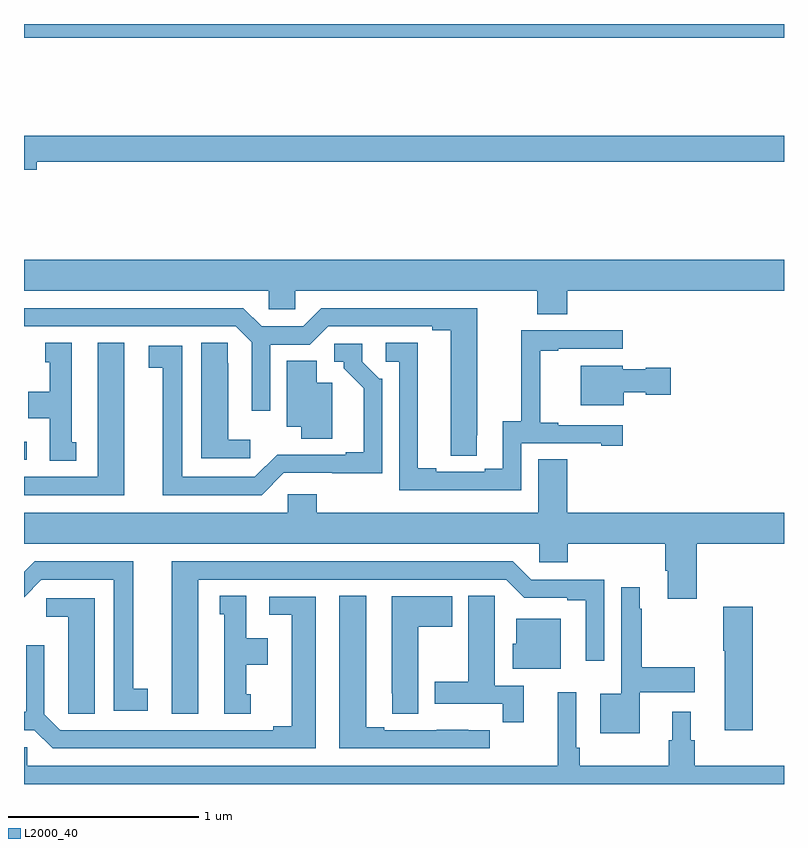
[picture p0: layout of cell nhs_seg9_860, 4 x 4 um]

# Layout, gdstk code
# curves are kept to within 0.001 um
import gdstk
lib = gdstk.Library(unit=1e-6, precision=1e-09)
def R(c, l, rs):  # rectangles x0, y0, x1, y1
    for r in rs: c.add(gdstk.rectangle(r[:2], r[2:], *l))
def P(c, l, *ps):  # polygons
    for p in ps: c.add(gdstk.Polygon(p, *l))
L2000_40 = (2000, 40)

nhs_seg9_860 = lib.new_cell('nhs_seg9_860')
R(nhs_seg9_860, L2000_40, [(157,1186.206,157.015,1186.302), (157,1188.428,161,1188.5)])
P(nhs_seg9_860, L2000_40, [(157.066,1187.776),(161,1187.776),(161,1187.912),(157,1187.912),(157,1187.734),(157.066,1187.734)],
  [(159.86,1187.096),(161,1187.096),(161,1187.26),(157,1187.26),(157,1187.096),(158.289,1187.096),(158.289,1186.998),(158.427,1186.998),(158.427,1187.096),(159.7,1187.096),(159.7,1186.972),(159.86,1186.972)],
  [(159.384,1186.336),(159.385,1187.004),(158.565,1187.004),(158.469,1186.908),(158.251,1186.908),(158.155,1187.004),(157,1187.004),(157,1186.908),(158.115,1186.908),(158.199,1186.824),(158.199,1186.464),(158.295,1186.464),(158.295,1186.812),(158.505,1186.812),(158.601,1186.908),(159.149,1186.908),(159.149,1186.888),(159.245,1186.888),(159.245,1186.228),(159.384,1186.228)],
  [(159.618,1186.293),(160.037,1186.293),(160.037,1186.281),(160.15,1186.281),(160.15,1186.389),(159.811,1186.389),(159.811,1186.402),(159.716,1186.402),(159.716,1186.779),(159.811,1186.779),(159.811,1186.791),(160.15,1186.791),(160.15,1186.887),(159.616,1186.887),(159.616,1186.409),(159.521,1186.409),(159.521,1186.158),(159.425,1186.158),(159.425,1186.143),(159.169,1186.143),(159.169,1186.163),(159.073,1186.163),(159.073,1186.823),(158.904,1186.823),(158.904,1186.722),(158.976,1186.722),(158.976,1186.047),(159.618,1186.047)],
  [(158.191,1186.312),(158.074,1186.312),(158.074,1186.715),(158.073,1186.715),(158.073,1186.823),(157.934,1186.823),(157.934,1186.215),(158.191,1186.215)],
  [(157.276,1186.299),(157.252,1186.299),(157.252,1186.822),(157.112,1186.822),(157.112,1186.719),(157.136,1186.719),(157.136,1186.564),(157.022,1186.564),(157.022,1186.424),(157.136,1186.424),(157.136,1186.201),(157.276,1186.201)],
  [(157.528,1186.822),(157.388,1186.822),(157.388,1186.116),(157,1186.116),(157,1186.02),(157.528,1186.02)],
  [(158.367,1186.137),(158.886,1186.136),(158.886,1186.632),(158.871,1186.632),(158.781,1186.722),(158.781,1186.818),(158.634,1186.818),(158.634,1186.722),(158.684,1186.722),(158.684,1186.687),(158.789,1186.582),(158.789,1186.246),(158.693,1186.246),(158.693,1186.233),(158.332,1186.234),(158.214,1186.116),(157.834,1186.116),(157.834,1186.806),(157.656,1186.806),(157.656,1186.69),(157.73,1186.69),(157.73,1186.02),(158.25,1186.02)],
  [(158.623,1186.612),(158.542,1186.612),(158.542,1186.727),(158.384,1186.727),(158.384,1186.379),(158.459,1186.379),(158.459,1186.318),(158.623,1186.318)],
  [(160.156,1186.562),(160.272,1186.562),(160.272,1186.55),(160.405,1186.55),(160.405,1186.692),(160.272,1186.692),(160.272,1186.684),(160.152,1186.684),(160.152,1186.702),(159.929,1186.702),(159.929,1186.493),(160.156,1186.493)],
  [(160.541,1185.764),(161,1185.764),(161,1185.928),(159.86,1185.928),(159.86,1186.208),(159.707,1186.208),(159.707,1185.928),(158.54,1185.928),(158.54,1186.026),(158.388,1186.026),(158.388,1185.928),(157,1185.928),(157,1185.764),(159.711,1185.764),(159.711,1185.666),(159.863,1185.666),(159.863,1185.764),(160.376,1185.764),(160.376,1185.622),(160.388,1185.622),(160.388,1185.474),(160.541,1185.474)],
  [(157.651,1185.002),(157.576,1185.002),(157.576,1185.672),(157.056,1185.672),(157,1185.616),(157,1185.484),(157.092,1185.576),(157.472,1185.576),(157.472,1184.886),(157.651,1184.886)],
  [(157.918,1185.576),(159.537,1185.576),(159.633,1185.48),(159.86,1185.48),(159.86,1185.468),(159.956,1185.468),(159.956,1185.15),(160.053,1185.15),(160.053,1185.576),(159.669,1185.576),(159.573,1185.672),(157.778,1185.672),(157.778,1184.871),(157.918,1184.871)],
  [(160.24,1184.984),(160.531,1184.984),(160.531,1185.114),(160.252,1185.114),(160.252,1185.422),(160.24,1185.422),(160.24,1185.535),(160.143,1185.535),(160.143,1184.974),(160.034,1184.974),(160.034,1184.768),(160.24,1184.768)],
  [(159.629,1185.018),(159.478,1185.018),(159.478,1185.38),(159.477,1185.38),(159.477,1185.491),(159.338,1185.491),(159.338,1185.039),(159.161,1185.039),(159.161,1184.922),(159.52,1184.922),(159.52,1184.826),(159.629,1184.826)],
  [(158.194,1184.973),(158.17,1184.973),(158.17,1185.128),(158.284,1185.128),(158.284,1185.268),(158.17,1185.268),(158.17,1185.491),(158.03,1185.491),(158.03,1185.393),(158.054,1185.393),(158.054,1184.871),(158.194,1184.871)],
  [(159.451,1184.784),(159.338,1184.784),(159.338,1184.785),(159.172,1184.785),(159.172,1184.784),(158.896,1184.784),(158.896,1184.799),(158.8,1184.799),(158.8,1185.491),(158.66,1185.491),(158.66,1184.688),(159.451,1184.688)],
  [(159.076,1185.328),(159.253,1185.328),(159.253,1185.487),(158.936,1185.487),(158.936,1184.977),(158.937,1184.977),(158.937,1184.869),(159.076,1184.869)],
  [(158.536,1185.486),(158.292,1185.486),(158.292,1185.39),(158.408,1185.39),(158.408,1184.804),(158.312,1184.804),(158.312,1184.784),(157.191,1184.784),(157.107,1184.868),(157.107,1185.229),(157.011,1185.229),(157.011,1184.88),(157,1184.88),(157,1184.784),(157.055,1184.784),(157.151,1184.688),(158.536,1184.688)],
  [(157.372,1185.477),(157.116,1185.477),(157.116,1185.38),(157.232,1185.38),(157.232,1184.977),(157.233,1184.977),(157.233,1184.869),(157.372,1184.869)],
  [(160.835,1185.433),(160.681,1185.433),(160.681,1185.202),(160.688,1185.202),(160.688,1184.784),(160.835,1184.784)],
  [(159.826,1185.37),(159.59,1185.37),(159.59,1185.237),(159.572,1185.237),(159.572,1185.107),(159.826,1185.107)],
  [(159.906,1184.692),(159.906,1184.983),(159.809,1184.983),(159.809,1184.596),(157.017,1184.596),(157.017,1184.694),(157,1184.694),(157,1184.5),(161,1184.5),(161,1184.596),(160.529,1184.596),(160.529,1184.73),(160.51,1184.73),(160.51,1184.881),(160.412,1184.881),(160.412,1184.73),(160.393,1184.73),(160.393,1184.596),(159.926,1184.596),(159.926,1184.692)])

lib.write_gds('nhs_seg9_860.gds')
